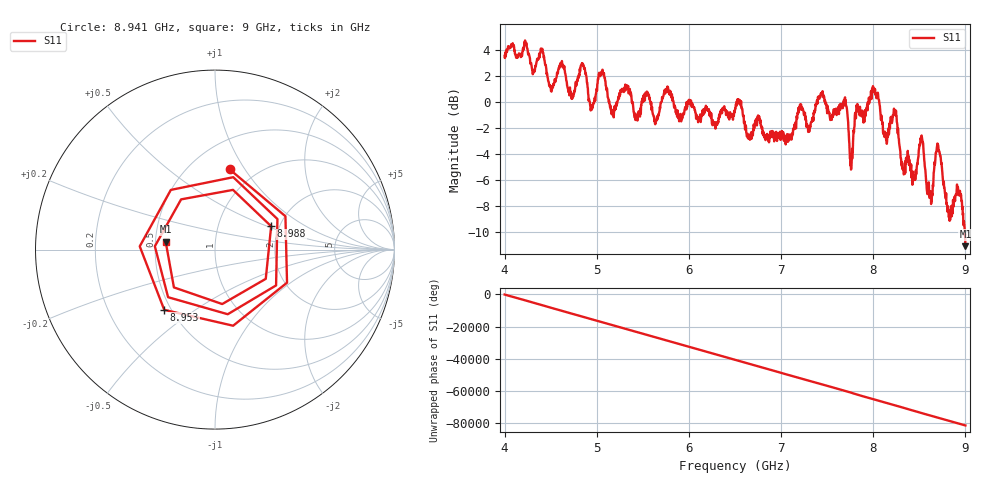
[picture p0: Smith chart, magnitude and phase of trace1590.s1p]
! Created with skrf 1.8.0 (http://scikit-rf.org).
# Hz S RI R 50.0
!freq ReS11 ImS11
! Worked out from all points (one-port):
!   1601 points, 4 GHz to 9 GHz, reference 50 ohm
!   lowest |S11| = -11.1 dB at 9 GHz (marker M1), VSWR 1.77, Z = 28.3 + j2.73 ohm
!   |S11| at or under -10 dB: 8.992467 GHz to end of sweep
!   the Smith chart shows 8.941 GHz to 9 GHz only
!   S11 on the Smith chart (normalised r, x): 8.941 GHz: 0.76, +0.86; 8.953 GHz: 0.46, -0.38; 8.988 GHz: 1.81, +0.53; 9 GHz: 0.57, +0.05
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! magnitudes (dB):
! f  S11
! 4 GHz  3.5
! 4.406 GHz  4.0
! 4.509 GHz  0.8
! 4.625 GHz  2.9
! 4.728 GHz  0.2
! 4.85 GHz  2.8
! 4.944 GHz  -0.6
! 5.047 GHz  2.2
! 5.162 GHz  -0.8
! 5.25 GHz  0.6
! 5.875 GHz  -0.7
! 6.5 GHz  -0.6
! 7.125 GHz  -2.4
! 7.444 GHz  0.6
! 7.694 GHz  0.3
! 7.75 GHz  -4.3
! 7.825 GHz  -0.3
! 8.009 GHz  0.9
! 8.375 GHz  -3.8
! 8.447 GHz  -6.0
! 8.525 GHz  -2.6
! 8.619 GHz  -6.9
! 8.703 GHz  -3.3
! 8.819 GHz  -8.8
! 8.941 GHz  -6.8
! 8.953 GHz  -7.2
! 8.988 GHz  -9.4
! 9 GHz  -11.1
